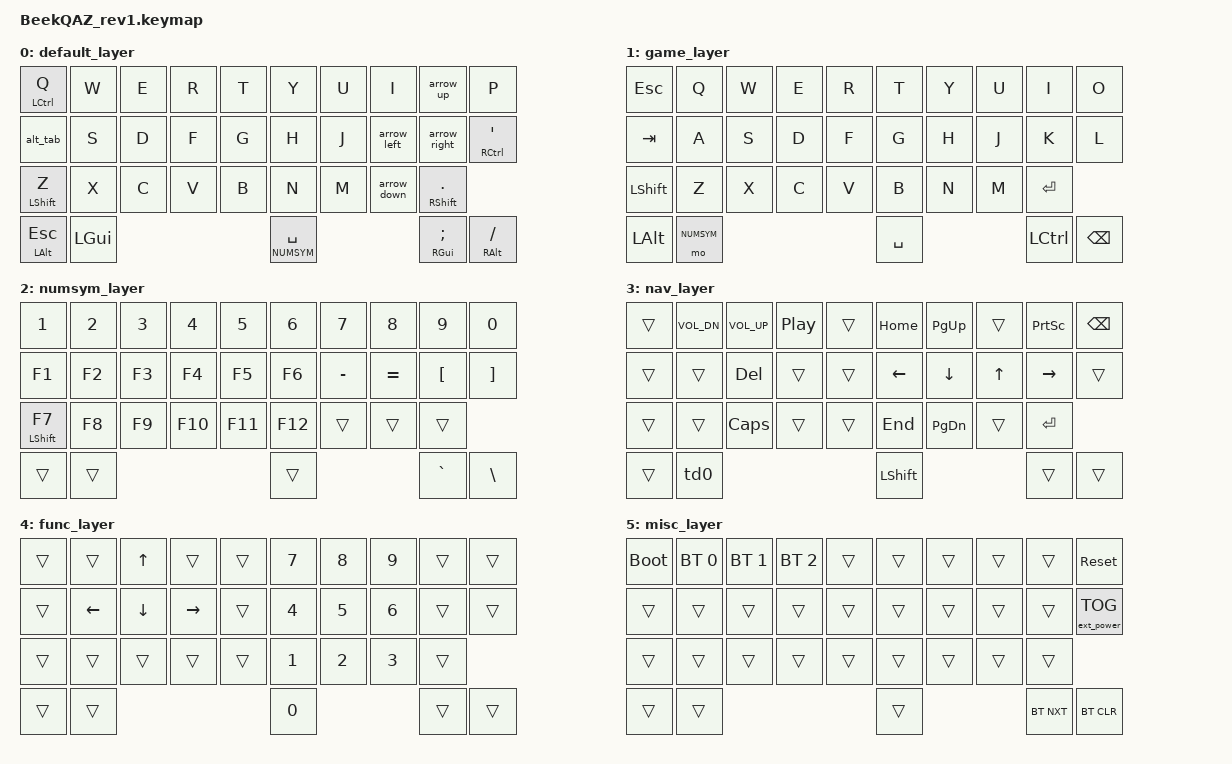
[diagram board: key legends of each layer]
#include <behaviors.dtsi>
#include <dt-bindings/zmk/keys.h>
#include <dt-bindings/zmk/bt.h>
#include <dt-bindings/zmk/outputs.h>
#include <dt-bindings/zmk/rgb.h>
#include <dt-bindings/zmk/ext_power.h>

#define DEFAULT 	0
#define GAME            1
#define NUMSYM 		2
#define NAV		3	
#define FUNC		4
#define MISC		5


/ {
    behaviors {
    	skz: shift_key_z {
            compatible = "zmk,behavior-hold-tap";
            label = "SHIFT_KEY_Z";
            #binding-cells = <2>;
            tapping-term-ms = <150>;
            quick-tap-ms = <200>;
            flavor = "hold-preferred";
            bindings = <&kp>, <&kp>;
        };
        alt_tab: alt_tab {
            compatible = "zmk,behavior-mod-morph";
            label = "ALT_TAB";
            #binding-cells = <0>;
            bindings = <&lt NAV A>, <&kp TAB>;
            mods = <(MOD_LALT|MOD_LGUI)>;
            keep-mods = <(MOD_LALT|MOD_LGUI)>;
        };
	arrow_up: arrow_up {
            compatible = "zmk,behavior-mod-morph";
            label = "ARROW_UP";
            #binding-cells = <0>;
            bindings = <&kp O>, <&kp UP>;
            mods = <(MOD_RCTL)>;
        };
	arrow_down: arrow_down {
            compatible = "zmk,behavior-mod-morph";
            label = "ARROW_DOWN";
            #binding-cells = <0>;
            bindings = <&kp COMMA>, <&kp DOWN>;
            mods = <(MOD_RCTL)>;
        };
	arrow_left: arrow_left {
            compatible = "zmk,behavior-mod-morph";
            label = "ARROW_LEFT";
            #binding-cells = <0>;
            bindings = <&kp K>, <&kp LEFT>;
            mods = <(MOD_RCTL)>;
        };
	arrow_right: arrow_right {
            compatible = "zmk,behavior-mod-morph";
            label = "ARROW_RIGHT";
            #binding-cells = <0>;
            bindings = <&kp L>, <&kp RIGHT>;
            mods = <(MOD_RCTL)>;
        };
	td0: tap_dance_0 {
            compatible = "zmk,behavior-tap-dance";
            label = "TAP_DANCE_FUNC_LAYER";
            #binding-cells = <0>;
            tapping-term-ms = <200>;
            bindings = <&mo FUNC>, <&tog FUNC>;
        };
    };
};

/ {
	combos {
	compatible = "zmk,combos";
		combo_esc {
			timeout-ms = <27>;
			key-positions = <1 2>;
			layers = <0>;
			bindings = <&kp ESC>;
		};
		combo_tab {
			timeout-ms = <27>;
			key-positions = <11 12>;
			layers = <0 2 3 4 5>;
			bindings = <&kp TAB>;
		};
		combo_bpc {
			timeout-ms = <27>;
			key-positions = <7 8>;
			layers = <0 2 3 4 5>;
			bindings = <&kp BSPC>;
		};
		combo_enter {
			timeout-ms = <27>;
			key-positions = <16 17>;
			layers = <0 2 3 4 5>;
			bindings = <&kp ENTER>;
		};
		combo_media_prev {
			timeout-ms = <27>;
			key-positions = <1 2>;
			layers = <3>;
			bindings = <&kp C_PREV>;
		};
		combo_media_next {
			timeout-ms = <27>;
			key-positions = <2 3>;
			layers = <3>;
			bindings = <&kp C_NEXT>;
		};
		combo_misc_layer {
			timeout-ms = <27>;
			key-positions = <29 30>;
			layers = <0>;
			bindings = <&mo MISC>;
		};
		combo_game_layer {
			timeout-ms = <27>;
			key-positions = <18 19 27>;
			layers = <0 1>;
			bindings = <&tog GAME>;
		};
		combo_gamelayer_p {
			timeout-ms = <27>;
			key-positions = <8 9>;
			layers = <1>;
			bindings = <&kp P>;
		};
    };
};

&mt {
    flavor = "tap-preferred";
    tapping-term-ms = <160>;
    quick-tap-ms = <200>;
};

&lt {
    quick-tap-ms = <200>;
};

/ {
	keymap {
		compatible = "zmk,keymap";
		
		default_layer {
			bindings = <
	&mt LCTRL Q      &kp W         &kp E         &kp R         &kp T            &kp Y            &kp U            &kp I            &arrow_up        &kp P
	&alt_tab         &kp S         &kp D         &kp F         &kp G            &kp H            &kp J            &arrow_left      &arrow_right     &mt RCTRL SQT
	&skz LSHIFT Z     &kp X         &kp C         &kp V         &kp B            &kp N            &kp M            &arrow_down      &mt RSHIFT DOT         
    &mt LALT ESC         &kp LGUI                                       &lt NUMSYM SPACE                                                &mt RGUI SEMI    &mt RALT FSLH
			>;
		};
		game_layer {
			bindings = <
	&kp ESC          &kp Q         &kp W         &kp E         &kp R           &kp T            &kp Y            &kp U            &kp I            &kp O 
	&kp TAB          &kp A         &kp S         &kp D         &kp F           &kp G            &kp H            &kp J            &kp K            &kp L           
	&kp LSHIFT       &kp Z         &kp X         &kp C         &kp V           &kp B            &kp N            &kp M            &kp ENTER        
    &kp LALT         &mo NUMSYM                                       &kp SPACE                                               &kp LCTRL    &kp BSPC   
			>;
		};
		numsym_layer {
			bindings = <
	&kp N1           &kp N2        &kp N3        &kp N4        &kp N5           &kp N6           &kp N7           &kp N8           &kp N9           &kp N0
	&kp F1           &kp F2        &kp F3        &kp F4        &kp F5           &kp F6           &kp MINUS        &kp EQUAL        &kp LBKT         &kp RBKT
	&mt LSHIFT F7    &kp F8        &kp F9        &kp F10       &kp F11          &kp F12          &trans           &trans           &trans
    &trans           &trans                                         &trans                                                         &kp GRAVE        &kp BSLH   
			>;
		};
		nav_layer {
			bindings = <
	&trans           &kp C_VOL_DN   &kp C_VOL_UP  &kp C_PP      &trans          &kp HOME         &kp PG_UP        &trans           &kp PSCRN        &kp BSPC
	&trans           &trans         &kp DEL       &trans        &trans          &kp LEFT         &kp DOWN         &kp UP           &kp RIGHT        &trans
	&trans           &trans         &kp CAPS      &trans        &trans          &kp END          &kp PG_DN        &trans           &kp ENTER        
    &trans           &td0                                       &kp LSHIFT                                                         &trans           &trans   
			>;
		};
		func_layer {
			bindings = <
	&trans           &trans        &kp UP         &trans         &trans          &kp N7           &kp N8          &kp N9            &trans           &trans
	&trans           &kp LEFT      &kp DOWN       &kp RIGHT      &trans          &kp N4           &kp N5          &kp N6            &trans           &trans
	&trans           &trans        &trans         &trans         &trans          &kp N1           &kp N2          &kp N3            &trans           
    &trans           &trans                                         &kp N0                                                          &trans          &trans   
			>;
		};
		misc_layer {
			bindings = <
	&bootloader      &bt BT_SEL 0  &bt BT_SEL 1  &bt BT_SEL 2   &trans          &trans           &trans          &trans            &trans         &sys_reset 
	&trans           &trans        &trans        &trans         &trans          &trans           &trans          &trans            &trans         &ext_power EP_TOG
	&trans           &trans        &trans        &trans         &trans          &trans           &trans          &trans            &trans        
    &trans           &trans                                        &trans                                                          &bt BT_NXT       &bt BT_CLR   
			>;
		};	
	};

};
